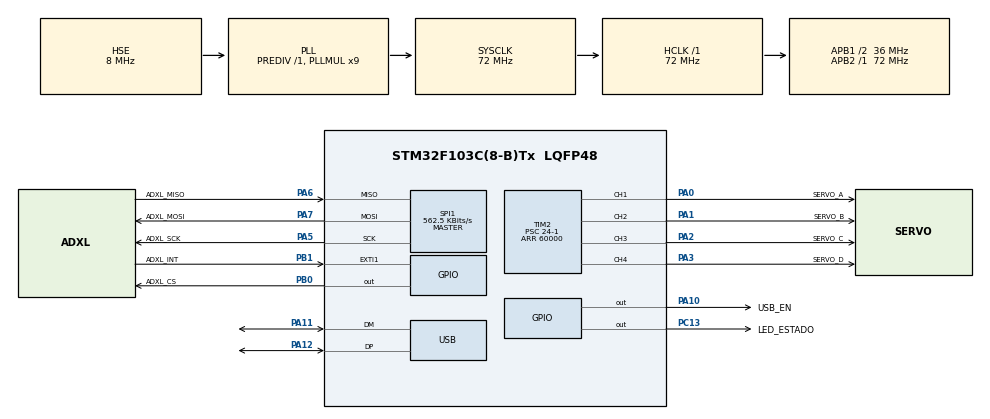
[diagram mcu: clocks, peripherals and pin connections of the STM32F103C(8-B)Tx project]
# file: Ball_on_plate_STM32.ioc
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Mcu.Family=STM32F1
Mcu.Name=STM32F103C(8-B)Tx
Mcu.Package=LQFP48
NVIC.EXTI1_IRQn=true\:0\:0\:false\:false\:true\:true\:true
NVIC.PriorityGroup=NVIC_PRIORITYGROUP_4
NVIC.SPI1_IRQn=true\:0\:0\:false\:false\:true\:true\:true
NVIC.USB_LP_CAN1_RX0_IRQn=true\:0\:0\:false\:false\:true\:false\:true
PA0-WKUP.GPIO_Label=SERVO_A
PA0-WKUP.Signal=S_TIM2_CH1_ETR
PA1.GPIO_Label=SERVO_B
PA1.Signal=S_TIM2_CH2
PA10.GPIO_Label=USB_EN
PA10.GPIO_ModeDefaultOutputPP=GPIO_MODE_OUTPUT_OD
PA10.GPIO_PuPd=GPIO_PULLUP
PA10.Signal=GPIO_Output
PA11.Mode=Device
PA11.Signal=USB_DM
PA12.Mode=Device
PA12.Signal=USB_DP
PA13.Mode=Serial_Wire
PA13.Signal=SYS_JTMS-SWDIO
PA14.Mode=Serial_Wire
PA14.Signal=SYS_JTCK-SWCLK
PA2.GPIO_Label=SERVO_C
PA2.Signal=S_TIM2_CH3
PA3.GPIO_Label=SERVO_D
PA3.Signal=S_TIM2_CH4
PA5.GPIO_Label=ADXL_SCK
PA5.Mode=Full_Duplex_Master
PA5.Signal=SPI1_SCK
PA6.GPIO_Label=ADXL_MISO
PA6.Mode=Full_Duplex_Master
PA6.Signal=SPI1_MISO
PA7.GPIO_Label=ADXL_MOSI
PA7.Mode=Full_Duplex_Master
PA7.Signal=SPI1_MOSI
PB0.GPIO_Label=ADXL_CS
PB0.GPIO_PuPd=GPIO_PULLUP
PB0.GPIO_Speed=GPIO_SPEED_FREQ_HIGH
PB0.PinState=GPIO_PIN_SET
PB0.Signal=GPIO_Output
PB1.GPIO_Label=ADXL_INT
PB1.Signal=GPXTI1
PC13-TAMPER-RTC.GPIO_Label=LED_ESTADO
PC13-TAMPER-RTC.Signal=GPIO_Output
PC14-OSC32_IN.Mode=LSE-External-Oscillator
PC14-OSC32_IN.Signal=RCC_OSC32_IN
PC15-OSC32_OUT.Mode=LSE-External-Oscillator
PC15-OSC32_OUT.Signal=RCC_OSC32_OUT
PD0-OSC_IN.Mode=HSE-External-Oscillator
PD0-OSC_IN.Signal=RCC_OSC_IN
PD1-OSC_OUT.Mode=HSE-External-Oscillator
PD1-OSC_OUT.Signal=RCC_OSC_OUT
ProjectManager.HeapSize=0x200
ProjectManager.StackSize=0x400
ProjectManager.TargetToolchain=STM32CubeIDE
RCC.AHBFreq_Value=72000000
RCC.APB1CLKDivider=RCC_HCLK_DIV2
RCC.APB1Freq_Value=36000000
RCC.APB1TimFreq_Value=72000000
RCC.APB2Freq_Value=72000000
RCC.APB2TimFreq_Value=72000000
RCC.HCLKFreq_Value=72000000
RCC.PLLMUL=RCC_PLL_MUL9
RCC.PLLSourceVirtual=RCC_PLLSOURCE_HSE
RCC.SYSCLKFreq_VALUE=72000000
RCC.SYSCLKSource=RCC_SYSCLKSOURCE_PLLCLK
RCC.USBFreq_Value=48000000
RCC.USBPrescaler=RCC_USBCLKSOURCE_PLL_DIV1_5
SH.S_TIM2_CH1_ETR.0=TIM2_CH1,PWM Generation1 CH1
SH.S_TIM2_CH2.0=TIM2_CH2,PWM Generation2 CH2
SH.S_TIM2_CH3.0=TIM2_CH3,PWM Generation3 CH3
SH.S_TIM2_CH4.0=TIM2_CH4,PWM Generation4 CH4
SPI1.BaudRatePrescaler=SPI_BAUDRATEPRESCALER_128
SPI1.CLKPhase=SPI_PHASE_2EDGE
SPI1.CLKPolarity=SPI_POLARITY_HIGH
SPI1.CalculateBaudRate=562.5 KBits/s
SPI1.Direction=SPI_DIRECTION_2LINES
SPI1.Mode=SPI_MODE_MASTER
SPI1.VirtualType=VM_MASTER
TIM2.Channel-PWM\ Generation1\ CH1=TIM_CHANNEL_1
TIM2.Channel-PWM\ Generation2\ CH2=TIM_CHANNEL_2
TIM2.Channel-PWM\ Generation3\ CH3=TIM_CHANNEL_3
TIM2.Channel-PWM\ Generation4\ CH4=TIM_CHANNEL_4
TIM2.OCPolarity_1=TIM_OCPOLARITY_HIGH
TIM2.OCPolarity_2=TIM_OCPOLARITY_HIGH
TIM2.OCPolarity_3=TIM_OCPOLARITY_HIGH
TIM2.Period=60000
TIM2.Prescaler=24-1
TIM2.Pulse-PWM\ Generation1\ CH1=3500
TIM2.Pulse-PWM\ Generation2\ CH2=3500
TIM2.Pulse-PWM\ Generation3\ CH3=3500
TIM2.Pulse-PWM\ Generation4\ CH4=3500
USB_DEVICE.CLASS_NAME_FS=CDC
USB_DEVICE.MANUFACTURER_STRING=UTN FRBA
USB_DEVICE.PRODUCT_STRING_CDC_FS=Ball on plate
USB_DEVICE.VirtualMode=Cdc
USB_DEVICE.VirtualModeFS=Cdc_FS
VP_TIM2_VS_ClockSourceINT.Mode=Internal
VP_USB_DEVICE_VS_USB_DEVICE_CDC_FS.Mode=CDC_FS
board=custom

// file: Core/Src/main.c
/* USER CODE BEGIN Header */
/**
  ******************************************************************************
  * @file           : main.c
  * @brief          : Main program body
  ******************************************************************************
  * @attention
  *
  * <h2><center>&copy; Copyright (c) 2021 STMicroelectronics.
  * All rights reserved.</center></h2>
  *
  * This software component is licensed by ST under BSD 3-Clause license,
  * the "License"; You may not use this file except in compliance with the
  * License. You may obtain a copy of the License at:
  *                        opensource.org/licenses/BSD-3-Clause
  *
  ******************************************************************************
  */
/* USER CODE END Header */
#include "main.h"
#include "usb_device.h"

/* USER CODE BEGIN Includes */
#include "servos.h"
#include "cpu.h"
#include "leds.h"
#include "timers.h"
#include "adxl.h"
/* USER CODE END Includes */

SPI_HandleTypeDef hspi1;

TIM_HandleTypeDef htim2;

/* USER CODE BEGIN PV */
extern servo_t servo_A, servo_B, servo_C, servo_D;
/* USER CODE END PV */

void SystemClock_Config(void);
static void MX_GPIO_Init(void);
static void MX_TIM2_Init(void);
static void MX_SPI1_Init(void);

/* USER CODE BEGIN 0 */
/*Esta funcion es un parche para las placas bluepill chinas, que traen una resistencia de pull up USB de valor erroneo
 * esto hace que luego de un soft reset (Nueva sesion de debug, pulso de reset, etc) el master no reconozca que el dispositivo
 * se reseteo, para solucionarlo le enviamos un pulso de estado bajo al pin de USB D+ para hacer de cuenta que el dispositivo
 * se desconecto, haciendo que el Host deseche y reinicie la comunicacion*/
void USB_DEVICE_MasterHardReset(void)
{
    GPIO_InitTypeDef GpioUSBHack;
    __HAL_RCC_GPIOA_CLK_ENABLE();
    GpioUSBHack.Mode= GPIO_MODE_OUTPUT_PP;
    GpioUSBHack.Pin = GPIO_PIN_12;
    GpioUSBHack.Pull = GPIO_PULLUP;
    GpioUSBHack.Speed = GPIO_SPEED_FREQ_HIGH;
    HAL_GPIO_Init(GPIOA, &GpioUSBHack);
    HAL_GPIO_WritePin(GPIOA, GPIO_PIN_12, GPIO_PIN_RESET);
    HAL_Delay(50);
}
/* USER CODE END 0 */

int main(void)
{

  /* MCU Configuration--------------------------------------------------------*/

  /* Reset of all peripherals, Initializes the Flash interface and the Systick. */
  HAL_Init();

  /* Configure the system clock */
  SystemClock_Config();

  /* USER CODE BEGIN SysInit */
  USB_DEVICE_MasterHardReset();
  /* USER CODE END SysInit */

  /* Initialize all configured peripherals */
  MX_GPIO_Init();
  MX_USB_DEVICE_Init();
  MX_TIM2_Init();
  MX_SPI1_Init();
  /* USER CODE BEGIN 2 */
  servos_inicializar();
  cpu_inicializar();
  leds_inicializar();
  adxl_inicializar();
  /* USER CODE END 2 */

  /* Infinite loop */
  while (1)
  {

    /* USER CODE BEGIN 3 */
	  cpu_rx();

	  servos_tarea();

	  adxl_tarea();

	  timer_tarea();
  }
  /* USER CODE END 3 */
}

void SystemClock_Config(void)
{
  RCC_OscInitTypeDef RCC_OscInitStruct = {0};
  RCC_ClkInitTypeDef RCC_ClkInitStruct = {0};
  RCC_PeriphCLKInitTypeDef PeriphClkInit = {0};

  /** Initializes the RCC Oscillators according to the specified parameters
  * in the RCC_OscInitTypeDef structure.
  */
  RCC_OscInitStruct.OscillatorType = RCC_OSCILLATORTYPE_HSE;
  RCC_OscInitStruct.HSEState = RCC_HSE_ON;
  RCC_OscInitStruct.HSEPredivValue = RCC_HSE_PREDIV_DIV1;
  RCC_OscInitStruct.HSIState = RCC_HSI_ON;
  RCC_OscInitStruct.PLL.PLLState = RCC_PLL_ON;
  RCC_OscInitStruct.PLL.PLLSource = RCC_PLLSOURCE_HSE;
  RCC_OscInitStruct.PLL.PLLMUL = RCC_PLL_MUL9;
  if (HAL_RCC_OscConfig(&RCC_OscInitStruct) != HAL_OK)
  {
    Error_Handler();
  }
  /** Initializes the CPU, AHB and APB buses clocks
  */
  RCC_ClkInitStruct.ClockType = RCC_CLOCKTYPE_HCLK|RCC_CLOCKTYPE_SYSCLK
                              |RCC_CLOCKTYPE_PCLK1|RCC_CLOCKTYPE_PCLK2;
  RCC_ClkInitStruct.SYSCLKSource = RCC_SYSCLKSOURCE_PLLCLK;
  RCC_ClkInitStruct.AHBCLKDivider = RCC_SYSCLK_DIV1;
  RCC_ClkInitStruct.APB1CLKDivider = RCC_HCLK_DIV2;
  RCC_ClkInitStruct.APB2CLKDivider = RCC_HCLK_DIV1;

  if (HAL_RCC_ClockConfig(&RCC_ClkInitStruct, FLASH_LATENCY_2) != HAL_OK)
  {
    Error_Handler();
  }
  PeriphClkInit.PeriphClockSelection = RCC_PERIPHCLK_USB;
  PeriphClkInit.UsbClockSelection = RCC_USBCLKSOURCE_PLL_DIV1_5;
  if (HAL_RCCEx_PeriphCLKConfig(&PeriphClkInit) != HAL_OK)
  {
    Error_Handler();
  }
}

static void MX_SPI1_Init(void)
{

  /* SPI1 parameter configuration*/
  hspi1.Instance = SPI1;
  hspi1.Init.Mode = SPI_MODE_MASTER;
  hspi1.Init.Direction = SPI_DIRECTION_2LINES;
  hspi1.Init.DataSize = SPI_DATASIZE_8BIT;
  hspi1.Init.CLKPolarity = SPI_POLARITY_HIGH;
  hspi1.Init.CLKPhase = SPI_PHASE_2EDGE;
  hspi1.Init.NSS = SPI_NSS_SOFT;
  hspi1.Init.BaudRatePrescaler = SPI_BAUDRATEPRESCALER_128;
  hspi1.Init.FirstBit = SPI_FIRSTBIT_MSB;
  hspi1.Init.TIMode = SPI_TIMODE_DISABLE;
  hspi1.Init.CRCCalculation = SPI_CRCCALCULATION_DISABLE;
  hspi1.Init.CRCPolynomial = 10;
  if (HAL_SPI_Init(&hspi1) != HAL_OK)
  {
    Error_Handler();
  }

}

static void MX_TIM2_Init(void)
{

  TIM_ClockConfigTypeDef sClockSourceConfig = {0};
  TIM_MasterConfigTypeDef sMasterConfig = {0};
  TIM_OC_InitTypeDef sConfigOC = {0};

  htim2.Instance = TIM2;
  htim2.Init.Prescaler = 24-1;
  htim2.Init.CounterMode = TIM_COUNTERMODE_UP;
  htim2.Init.Period = 60000;
  htim2.Init.ClockDivision = TIM_CLOCKDIVISION_DIV1;
  htim2.Init.AutoReloadPreload = TIM_AUTORELOAD_PRELOAD_DISABLE;
  if (HAL_TIM_Base_Init(&htim2) != HAL_OK)
  {
    Error_Handler();
  }
  sClockSourceConfig.ClockSource = TIM_CLOCKSOURCE_INTERNAL;
  if (HAL_TIM_ConfigClockSource(&htim2, &sClockSourceConfig) != HAL_OK)
  {
    Error_Handler();
  }
  if (HAL_TIM_PWM_Init(&htim2) != HAL_OK)
  {
    Error_Handler();
  }
  sMasterConfig.MasterOutputTrigger = TIM_TRGO_RESET;
  sMasterConfig.MasterSlaveMode = TIM_MASTERSLAVEMODE_DISABLE;
  if (HAL_TIMEx_MasterConfigSynchronization(&htim2, &sMasterConfig) != HAL_OK)
  {
    Error_Handler();
  }
  sConfigOC.OCMode = TIM_OCMODE_PWM1;
  sConfigOC.Pulse = 3500;
  sConfigOC.OCPolarity = TIM_OCPOLARITY_HIGH;
  sConfigOC.OCFastMode = TIM_OCFAST_DISABLE;
  if (HAL_TIM_PWM_ConfigChannel(&htim2, &sConfigOC, TIM_CHANNEL_1) != HAL_OK)
  {
    Error_Handler();
  }
  if (HAL_TIM_PWM_ConfigChannel(&htim2, &sConfigOC, TIM_CHANNEL_2) != HAL_OK)
  {
    Error_Handler();
  }
  if (HAL_TIM_PWM_ConfigChannel(&htim2, &sConfigOC, TIM_CHANNEL_3) != HAL_OK)
  {
    Error_Handler();
  }
  if (HAL_TIM_PWM_ConfigChannel(&htim2, &sConfigOC, TIM_CHANNEL_4) != HAL_OK)
  {
    Error_Handler();
  }
  HAL_TIM_MspPostInit(&htim2);

}

static void MX_GPIO_Init(void)
{
  GPIO_InitTypeDef GPIO_InitStruct = {0};

  /* GPIO Ports Clock Enable */
  __HAL_RCC_GPIOC_CLK_ENABLE();
  __HAL_RCC_GPIOD_CLK_ENABLE();
  __HAL_RCC_GPIOA_CLK_ENABLE();
  __HAL_RCC_GPIOB_CLK_ENABLE();

  /*Configure GPIO pin Output Level */
  HAL_GPIO_WritePin(LED_ESTADO_GPIO_Port, LED_ESTADO_Pin, GPIO_PIN_RESET);

  /*Configure GPIO pin Output Level */
  HAL_GPIO_WritePin(ADXL_CS_GPIO_Port, ADXL_CS_Pin, GPIO_PIN_SET);

  /*Configure GPIO pin Output Level */
  HAL_GPIO_WritePin(USB_EN_GPIO_Port, USB_EN_Pin, GPIO_PIN_RESET);

  /*Configure GPIO pin : LED_ESTADO_Pin */
  GPIO_InitStruct.Pin = LED_ESTADO_Pin;
  GPIO_InitStruct.Mode = GPIO_MODE_OUTPUT_PP;
  GPIO_InitStruct.Pull = GPIO_NOPULL;
  GPIO_InitStruct.Speed = GPIO_SPEED_FREQ_LOW;
  HAL_GPIO_Init(LED_ESTADO_GPIO_Port, &GPIO_InitStruct);

  /*Configure GPIO pin : ADXL_CS_Pin */
  GPIO_InitStruct.Pin = ADXL_CS_Pin;
  GPIO_InitStruct.Mode = GPIO_MODE_OUTPUT_PP;
  GPIO_InitStruct.Pull = GPIO_PULLUP;
  GPIO_InitStruct.Speed = GPIO_SPEED_FREQ_HIGH;
  HAL_GPIO_Init(ADXL_CS_GPIO_Port, &GPIO_InitStruct);

  /*Configure GPIO pin : ADXL_INT_Pin */
  GPIO_InitStruct.Pin = ADXL_INT_Pin;
  GPIO_InitStruct.Mode = GPIO_MODE_IT_RISING;
  GPIO_InitStruct.Pull = GPIO_NOPULL;
  HAL_GPIO_Init(ADXL_INT_GPIO_Port, &GPIO_InitStruct);

  /*Configure GPIO pin : USB_EN_Pin */
  GPIO_InitStruct.Pin = USB_EN_Pin;
  GPIO_InitStruct.Mode = GPIO_MODE_OUTPUT_OD;
  GPIO_InitStruct.Pull = GPIO_PULLUP;
  GPIO_InitStruct.Speed = GPIO_SPEED_FREQ_LOW;
  HAL_GPIO_Init(USB_EN_GPIO_Port, &GPIO_InitStruct);

  /* EXTI interrupt init*/
  HAL_NVIC_SetPriority(EXTI1_IRQn, 0, 0);
  HAL_NVIC_EnableIRQ(EXTI1_IRQn);

}

/* USER CODE BEGIN 4 */
//ToDo hacer un main propio para evitar este bardo
/**
  * @brief  EXTI line detection callbacks.
  * @param  GPIO_Pin: Specifies the pins connected EXTI line
  * @retval None
  */
void HAL_GPIO_EXTI_Callback(uint16_t GPIO_Pin)
{
	//POR QUE NO INTERRUMPE? VERIFICAR con tester, probablemente haya que leer
	if(GPIO_Pin == ADXL_INT_Pin)
		adxl_interrupcion_callback();
}
/* USER CODE END 4 */

void Error_Handler(void)
{
  __disable_irq();
  while (1)
  {
  }
}

/************************ (C) COPYRIGHT STMicroelectronics *****END OF FILE****/
